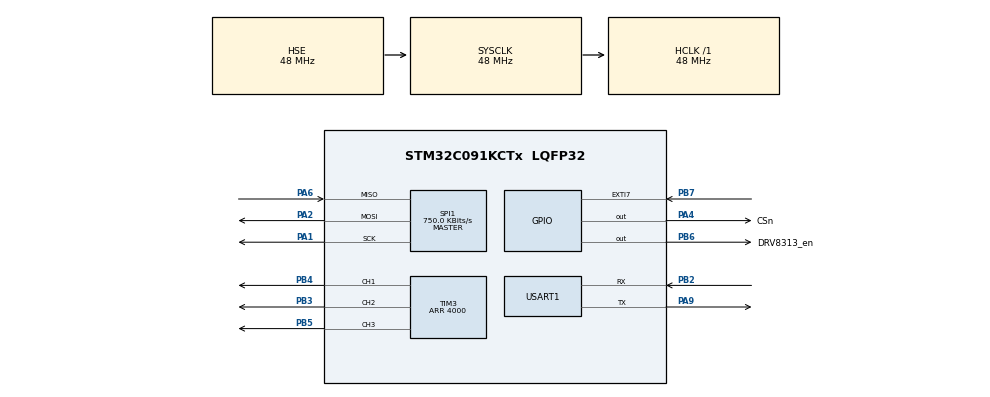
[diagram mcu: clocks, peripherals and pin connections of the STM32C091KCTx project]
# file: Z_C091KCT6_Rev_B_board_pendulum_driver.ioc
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Mcu.Family=STM32C0
Mcu.Name=STM32C091KCTx
Mcu.Package=LQFP32
NVIC.EXTI4_15_IRQn=true\:0\:0\:false\:false\:true\:true\:true\:true
PA1.Mode=Full_Duplex_Master
PA1.Signal=SPI1_SCK
PA13.Mode=Serial_Wire
PA13.Signal=DEBUG_SWDIO
PA14-BOOT0.Mode=Serial_Wire
PA14-BOOT0.Signal=DEBUG_SWCLK
PA2.Mode=Full_Duplex_Master
PA2.Signal=SPI1_MOSI
PA4.GPIO_Label=CSn
PA4.Signal=GPIO_Output
PA6.Mode=Full_Duplex_Master
PA6.Signal=SPI1_MISO
PA9.Mode=Asynchronous
PA9.Signal=USART1_TX
PB2.Mode=Asynchronous
PB2.Signal=USART1_RX
PB3.Signal=S_TIM3_CH2
PB4.Signal=S_TIM3_CH1
PB5.Signal=S_TIM3_CH3
PB6.GPIO_Label=DRV8313_en
PB6.Signal=GPIO_Output
PB7.GPIO_ModeDefaultEXTI=GPIO_MODE_IT_FALLING
PB7.Signal=GPXTI7
PC14-OSCX_IN(PC14).Mode=HSE-External-Oscillator
PC14-OSCX_IN(PC14).Signal=RCC_OSCX_IN
PC15-OSCX_OUT(PC15).Mode=HSE-External-Oscillator
PC15-OSCX_OUT(PC15).Signal=RCC_OSCX_OUT
ProjectManager.HeapSize=0x200
ProjectManager.StackSize=0x400
ProjectManager.TargetToolchain=STM32CubeIDE
RCC.ADCFreq_Value=48000000
RCC.AHBFreq_Value=48000000
RCC.CortexFreq_Value=48000000
RCC.EXTERNAL_CLOCK_VALUE=12288000
RCC.HCLKFreq_Value=48000000
RCC.HSE_VALUE=48000000
RCC.HSI_VALUE=48000000
RCC.LSE_VALUE=32768
RCC.SYSCLKFreq_VALUE=48000000
RCC.SYSCLKSource=RCC_SYSCLKSOURCE_HSE
SH.S_TIM3_CH1.0=TIM3_CH1,PWM Generation1 CH1
SH.S_TIM3_CH2.0=TIM3_CH2,PWM Generation2 CH2
SH.S_TIM3_CH3.0=TIM3_CH3,PWM Generation3 CH3
SPI1.BaudRatePrescaler=SPI_BAUDRATEPRESCALER_64
SPI1.CLKPhase=SPI_PHASE_2EDGE
SPI1.CalculateBaudRate=750.0 KBits/s
SPI1.DataSize=SPI_DATASIZE_16BIT
SPI1.Direction=SPI_DIRECTION_2LINES
SPI1.Mode=SPI_MODE_MASTER
SPI1.VirtualType=VM_MASTER
TIM3.Channel-PWM\ Generation1\ CH1=TIM_CHANNEL_1
TIM3.Channel-PWM\ Generation2\ CH2=TIM_CHANNEL_2
TIM3.Channel-PWM\ Generation3\ CH3=TIM_CHANNEL_3
TIM3.Period=4000
TIM3.Pulse-PWM\ Generation1\ CH1=123
TIM3.Pulse-PWM\ Generation2\ CH2=456
TIM3.Pulse-PWM\ Generation3\ CH3=789
USART1.VirtualMode-Asynchronous=VM_ASYNC
VP_TIM3_VS_ClockSourceINT.Mode=Internal
board=custom

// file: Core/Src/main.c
/* USER CODE BEGIN Header */
/**
 ******************************************************************************
 * @file           : main.c
 * @brief          : Main program body
 ******************************************************************************
 * @attention
 *
 * Copyright (c) 2025 STMicroelectronics.
 * All rights reserved.
 *
 * This software is licensed under terms that can be found in the LICENSE file
 * in the root directory of this software component.
 * If no LICENSE file comes with this software, it is provided AS-IS.
 *
 ******************************************************************************
 */
/* USER CODE END Header */
#include "main.h"

/* USER CODE BEGIN Includes */
#include <math.h>
#include <stdio.h>
#include <stdlib.h>
#include <stdbool.h>
#include <functions_structs.h>
/* USER CODE END Includes */

/* USER CODE BEGIN PD */
#define PENDULUM_NO               1
//#define all_tests                 false // if false, no tests occur ('production'), if true, falls into while(all_tests) loop (testing)
//#define neutral_mag               true  // if ((all_tests) && neutral_mag) then print out the reading from the MA780 magnetic sensor
//#define current_sink              false // if ((all_tests) && current_sink) then cycle through all possible current levels, including reversing the current
//#define READ_DIRECTION_REGISTER   false  // if ((all_tests) && direction_register) then read the direction register every 5 seconds (not that it is likely to change!)
//#define WRITE_DIRECTION_REGISTER  false

#if (PENDULUM_NO == 0)

#define DESIRED_PERIOD            (1960.0)
#define PERIOD_us				  (DESIRED_PERIOD * 1000)
#define DESIRED_AMPLITUDE         (1000)
#define PERIODS_BETWEEN_METAPINGS (64)
#define CTRL_PULSE_MODE           (OUTPUT)    // Board #0 produces the metapings and needs this to be OUTPUT. All other boards need INPUT
#define attach_the_interrupt      (0)         // Board #0 needs NOT to have the interrupt attached, all other boards need interrupt attached
#define OFFSET					  (0)		// 43 for #0 & #1, 15 for #2, 19 for #3
#endif

#if (PENDULUM_NO == 1)

#define DESIRED_PERIOD            (1960.0)
#define PERIOD_us				  (DESIRED_PERIOD * 1000)
#define DESIRED_AMPLITUDE         (1000)
#define PERIODS_BETWEEN_METAPINGS (65)
#define CTRL_PULSE_MODE           (INPUT)    // Board #0 produces the metapings and needs this to be OUTPUT. All other boards need INPUT
#define attach_the_interrupt      (1)         // Board #0 needs NOT to have the interrupt attached, all other boards need interrupt attached
#define OFFSET					  (43)		// 43 for #0 & #1, 15 for #2, 19 for #3
#endif

#if (PENDULUM_NO == 2)

#define PERIOD                    (940.0)
#define PERIOD_us				  (939636)
#define DESIRED_AMPLITUDE         (5000)
#define PERIODS_BETWEEN_METAPINGS (66)
#define CTRL_PULSE_MODE           (INPUT)    // Board #0 produces the metapings and needs this to be OUTPUT. All other boards need INPUT
#define attach_the_interrupt      (1)         // Board #0 needs NOT to have the interrupt attached, all other boards need interrupt attached
#define OFFSET					  (15)		// 43 for #0 & #1, 15 for #2, 19 for #3
#endif

#if (PENDULUM_NO == 3)

#define PERIOD                    (1500.0) // 926.0
#define PERIOD_us				  (1500000)
#define DESIRED_AMPLITUDE         (5000)  // 5000
#define PERIODS_BETWEEN_METAPINGS (67)    // 67
#define CTRL_PULSE_MODE           (INPUT)    // Board #0 produces the metapings and needs this to be OUTPUT. All other boards need INPUT
#define attach_the_interrupt      (1)         // Board #0 needs NOT to have the interrupt attached, all other boards need interrupt attached
#define OFFSET					  (20)		// 43 for #0 & #1, 15 for #2, 19 for #3
#endif

/* USER CODE END PD */

SPI_HandleTypeDef hspi1;

TIM_HandleTypeDef htim3;

UART_HandleTypeDef huart1;

void SystemClock_Config(void);
static void MX_GPIO_Init(void);
static void MX_SPI1_Init(void);
static void MX_TIM3_Init(void);
static void MX_USART1_UART_Init(void);
/* USER CODE BEGIN PFP */
long AS5048A_read();
void AS5048A_update_pos_array(void);

void apply_current_vector(struct pendulum_t *p_pendulum);
void apply_specified_current_vector(struct pendulum_t *p_pendulum, int a);

long measure_neutral(void);
int measure_offset(struct pendulum_t *p_pendulum);
//int measure_offset(void);
void read_sensor();

long elec_pos(long sensor_reading);

void update_max_min(struct pendulum_t *p_pendulum);

void ping_due(struct pendulum_t *p_pendulum,
		struct time_tracker_t *p_time_tracker);
void duly_ping(void);

void configure_as_controller(void);

void offset_experiment(int brian);

#//define PRINTF2UART1 int __io_putchar(int data)
#define PUTCHAR_PROTOTYPE int __io_putchar(int ch)

/* USER CODE END PFP */

/* USER CODE BEGIN 0 */
uint8_t UART1_rxBuffer[12] = { 0 };
UART_HandleTypeDef huart1;

float torqueB = 30; // 0 - 100
float torque_split = 0.5; // proportion of overall drive used to advance the phase of the pendulum
long errorB = 0;
long directnB = 0;
bool central_pos_flag = true; // measure the central position one time only at the start of the loop when flag = true
long neutral = -1; // variable to hold reading of AS5048A (use -1 as a warning that it has not been set)
bool amp_exceeds_target = false;
float X = 68, Y = 68, Z = 242; // 66 < Z < 68
long a = 39;
// long cumulative_lateness = 0;
float power = 38;
bool motor_update_flag = false;
long ping_count_current = 0; // counter to keep track of the number of metapings
long ping_count_previous = 0;	//
long ping_count = 0;

long offset_results[48];

bool if_flag = false;

struct time_tracker_t time_track;
struct pendulum_t pendulum_A;

const int A_offset = 0;
const int B_offset = 16;
const int C_offset = 32;

int currentStepA;
int currentStepB; //
int currentStepC;

int pwmSin[] = { 127, 110, 94, 78, 64, 50, 37, 26, 17, 10, 4, 1, 0, 1, 4, 10,
		17, 26, 37, 50, 64, 79, 95, 111, 128, 144, 160, 176, 191, 205, 218, 229,
		238, 245, 251, 254, 255, 254, 251, 245, 238, 229, 218, 205, 191, 176,
		160, 144 };
long count = 0;
long swing_counter = 0;
long swing_counter_ii = 0;
//int  offset = 12;

volatile bool positive = false;
volatile bool pos_going = false;
volatile bool outbound = false;
volatile uint16_t electrical_pos = 0;
volatile bool early = false; // if true, pendulum is arriving early at zero crossing
volatile bool longswing = false; // if true, pendulum is swinging too far

/* USER CODE END 0 */

int main(void) {

	/* USER CODE BEGIN 1 */

	pendulum_A.pendulum_number = PENDULUM_NO;
	pendulum_A.periods_in_meta_period = PERIODS_BETWEEN_METAPINGS;
	pendulum_A.desired_period = DESIRED_PERIOD;      //
	pendulum_A.desired_period_us = PERIOD_us;
	pendulum_A.desired_amplitude = DESIRED_AMPLITUDE;   //
	pendulum_A.pgzc_flag = true; // one of the 2 flags needs to be true otherwise no zero crossings reported
	pendulum_A.ngzc_flag = true; // probably the other flag could also be true, TLDT
	pendulum_A.period = 1234L;              // period in milliseconds
	pendulum_A.meta_period = (PERIODS_BETWEEN_METAPINGS * DESIRED_PERIOD);
	pendulum_A.time_tolerance = 20; // if +/- tolerance from desired pgzc time, treat as correct time
	pendulum_A.amplitude_tolerance = 100; // if +/- tolerance from desired amplitude, treat as correct amplitude
	pendulum_A.period_tolerance = 5;
	pendulum_A.cumulative_pgzc_error = 0;
	pendulum_A.offset = 37;

	time_track.measurement_interval = 50L; // time between position measurements
	/* USER CODE END 1 */

	/* MCU Configuration--------------------------------------------------------*/

	/* Reset of all peripherals, Initializes the Flash interface and the Systick. */
	HAL_Init();

	/* Configure the system clock */
	SystemClock_Config();

	/* Initialize all configured peripherals */
	MX_GPIO_Init();
	MX_SPI1_Init();
	MX_TIM3_Init();
	MX_USART1_UART_Init();
	/* USER CODE BEGIN 2 */
	if (PENDULUM_NO == 0) {
		configure_as_controller();
	}

	HAL_TIM_PWM_Start(&htim3, TIM_CHANNEL_1); // necessary to start the
	HAL_TIM_PWM_Start(&htim3, TIM_CHANNEL_2);
	HAL_TIM_PWM_Start(&htim3, TIM_CHANNEL_3);
	/* USER CODE END 2 */

	/* Infinite loop */
	/* USER CODE BEGIN WHILE */

	HAL_GPIO_WritePin(GPIOA, CSn_Pin, GPIO_PIN_SET); // Set CSn_Pin / PB0 high to disable SPI sensor
	HAL_GPIO_WritePin(GPIOB, DRV8313_en_Pin, GPIO_PIN_RESET); // Set En1_Pin  low to disable DRV8313

	while (1) {

		if (central_pos_flag) {
			central_pos_flag = false;
			pendulum_A.neutral_position = measure_neutral(); // execute once only to determine neutral position
			// pendulum_A.offset = measure_offset(&pendulum_A); // this function is time-consuming, use it in development but put the offset value in by hand for production
		}

		update_time(&time_track, HAL_GetTick());
		time_track.pgzc_time_last_desired = desired_pgzc(HAL_GetTick(),
				&pendulum_A, &time_track);
		ping_due(&pendulum_A, &time_track);

		if (measure_due(&time_track,
				pendulum_A.pos_array[(pendulum_A.pos_array[10][0])][1])) {
			AS5048A_update_pos_array(); // puts a new magnetic reading into position pos_array[10][0] of pos_array[][]
			motor_update_flag = true;
			if_flag = !if_flag;
		}
//
		update_max_min(&pendulum_A); // updates provisional max & min
		long dummy_2 = pgzc(&pendulum_A); // TODO can you make these functions 'void fn()' to avoid Wunused variable warning
		long dummy_3 = ngzc(&pendulum_A); // need to call both pgzc & ngzc to reset flags
		determine_late_early(&pendulum_A, &time_track);

		positive = (pendulum_A.pos_array[pendulum_A.pos_array[10][0]][0] > 0); // pendulum is in positive territory
		pos_going =
				(pendulum_A.pos_array[pendulum_A.pos_array[10][0]][0]
						- pendulum_A.pos_array[(9 + pendulum_A.pos_array[10][0])
								% 10][0] > 0); // pendulum is moving in positive direction
		outbound = ((positive && pos_going) || (!positive && !pos_going)); // pendulum is moving away from central rest position

		float multiplier = 1.8; // 2:- strongest period correction, 1:- weakest period correction
		// see extensive comment at line ~900

		if (outbound && !pendulum_A.early) { // driving outbound & late pendulum tends to make pendulum later, antagonistic to correcting a late pendulum
			multiplier = 2 - multiplier;
		}

		if (!outbound && pendulum_A.early) { // driving inbound & early pendulum tends to make pendulum earlier, antagonistic to correcting an early pendulum
			multiplier = 2 - multiplier;
		}

		if (pos_going) {
			directnB = 12;
		} else {
			directnB = 36;
		}

		if (pendulum_A.amplitude < pendulum_A.desired_amplitude) {
			torqueB = 120; // 100
		} else
			torqueB = 85;

		electrical_pos = (elec_pos(
				pendulum_A.pos_array[pendulum_A.pos_array[10][0]][0]) % 48);

		currentStepA = electrical_pos + directnB + pendulum_A.offset;
		currentStepB = currentStepA + B_offset;
		currentStepC = currentStepA + C_offset;

		currentStepA %= 48;
		currentStepB %= 48;
		currentStepC %= 48;

		if (motor_update_flag == true) {
			motor_update_flag = false;
			__HAL_TIM_SET_COMPARE(&htim3, TIM_CHANNEL_1,
					pwmSin[currentStepA] * multiplier * torqueB / 100.0);
			__HAL_TIM_SET_COMPARE(&htim3, TIM_CHANNEL_2,
					pwmSin[currentStepB] * multiplier * torqueB / 100.0);
			__HAL_TIM_SET_COMPARE(&htim3, TIM_CHANNEL_3,
					pwmSin[currentStepC] * multiplier * torqueB / 100.0);
		}

		/* USER CODE END WHILE */

		/* USER CODE BEGIN 3 */
	} // closing brace of principal while() loop
	/* USER CODE END 3 */
} // closing brace of main()

void SystemClock_Config(void) {
	RCC_OscInitTypeDef RCC_OscInitStruct = { 0 };
	RCC_ClkInitTypeDef RCC_ClkInitStruct = { 0 };

	__HAL_FLASH_SET_LATENCY(FLASH_LATENCY_1);

	/** Initializes the RCC Oscillators according to the specified parameters
	 * in the RCC_OscInitTypeDef structure.
	 */
	RCC_OscInitStruct.OscillatorType = RCC_OSCILLATORTYPE_HSE;
	RCC_OscInitStruct.HSEState = RCC_HSE_ON;
	if (HAL_RCC_OscConfig(&RCC_OscInitStruct) != HAL_OK) {
		Error_Handler();
	}

	/** Initializes the CPU, AHB and APB buses clocks
	 */
	RCC_ClkInitStruct.ClockType = RCC_CLOCKTYPE_HCLK | RCC_CLOCKTYPE_SYSCLK
			| RCC_CLOCKTYPE_PCLK1;
	RCC_ClkInitStruct.SYSCLKSource = RCC_SYSCLKSOURCE_HSE;
	RCC_ClkInitStruct.SYSCLKDivider = RCC_SYSCLK_DIV1;
	RCC_ClkInitStruct.AHBCLKDivider = RCC_HCLK_DIV1;
	RCC_ClkInitStruct.APB1CLKDivider = RCC_APB1_DIV1;

	if (HAL_RCC_ClockConfig(&RCC_ClkInitStruct, FLASH_LATENCY_1) != HAL_OK) {
		Error_Handler();
	}
}

static void MX_SPI1_Init(void) {

	/* SPI1 parameter configuration*/
	hspi1.Instance = SPI1;
	hspi1.Init.Mode = SPI_MODE_MASTER;
	hspi1.Init.Direction = SPI_DIRECTION_2LINES;
	hspi1.Init.DataSize = SPI_DATASIZE_16BIT;
	hspi1.Init.CLKPolarity = SPI_POLARITY_LOW;
	hspi1.Init.CLKPhase = SPI_PHASE_2EDGE;
	hspi1.Init.NSS = SPI_NSS_SOFT;
	hspi1.Init.BaudRatePrescaler = SPI_BAUDRATEPRESCALER_64;
	hspi1.Init.FirstBit = SPI_FIRSTBIT_MSB;
	hspi1.Init.TIMode = SPI_TIMODE_DISABLE;
	hspi1.Init.CRCCalculation = SPI_CRCCALCULATION_DISABLE;
	hspi1.Init.CRCPolynomial = 7;
	hspi1.Init.CRCLength = SPI_CRC_LENGTH_DATASIZE;
	hspi1.Init.NSSPMode = SPI_NSS_PULSE_DISABLE;
	if (HAL_SPI_Init(&hspi1) != HAL_OK) {
		Error_Handler();
	}

}

static void MX_TIM3_Init(void) {

	TIM_ClockConfigTypeDef sClockSourceConfig = { 0 };
	TIM_MasterConfigTypeDef sMasterConfig = { 0 };
	TIM_OC_InitTypeDef sConfigOC = { 0 };

	htim3.Instance = TIM3;
	htim3.Init.Prescaler = 0;
	htim3.Init.CounterMode = TIM_COUNTERMODE_UP;
	htim3.Init.Period = 4000;
	htim3.Init.ClockDivision = TIM_CLOCKDIVISION_DIV1;
	htim3.Init.AutoReloadPreload = TIM_AUTORELOAD_PRELOAD_DISABLE;
	if (HAL_TIM_Base_Init(&htim3) != HAL_OK) {
		Error_Handler();
	}
	sClockSourceConfig.ClockSource = TIM_CLOCKSOURCE_INTERNAL;
	if (HAL_TIM_ConfigClockSource(&htim3, &sClockSourceConfig) != HAL_OK) {
		Error_Handler();
	}
	if (HAL_TIM_PWM_Init(&htim3) != HAL_OK) {
		Error_Handler();
	}
	sMasterConfig.MasterOutputTrigger = TIM_TRGO_RESET;
	sMasterConfig.MasterSlaveMode = TIM_MASTERSLAVEMODE_DISABLE;
	if (HAL_TIMEx_MasterConfigSynchronization(&htim3, &sMasterConfig)
			!= HAL_OK) {
		Error_Handler();
	}
	sConfigOC.OCMode = TIM_OCMODE_PWM1;
	sConfigOC.Pulse = 123;
	sConfigOC.OCPolarity = TIM_OCPOLARITY_HIGH;
	sConfigOC.OCFastMode = TIM_OCFAST_DISABLE;
	if (HAL_TIM_PWM_ConfigChannel(&htim3, &sConfigOC, TIM_CHANNEL_1)
			!= HAL_OK) {
		Error_Handler();
	}
	sConfigOC.Pulse = 456;
	if (HAL_TIM_PWM_ConfigChannel(&htim3, &sConfigOC, TIM_CHANNEL_2)
			!= HAL_OK) {
		Error_Handler();
	}
	sConfigOC.Pulse = 789;
	if (HAL_TIM_PWM_ConfigChannel(&htim3, &sConfigOC, TIM_CHANNEL_3)
			!= HAL_OK) {
		Error_Handler();
	}
	HAL_TIM_MspPostInit(&htim3);

}

static void MX_USART1_UART_Init(void) {

	huart1.Instance = USART1;
	huart1.Init.BaudRate = 115200;
	huart1.Init.WordLength = UART_WORDLENGTH_8B;
	huart1.Init.StopBits = UART_STOPBITS_1;
	huart1.Init.Parity = UART_PARITY_NONE;
	huart1.Init.Mode = UART_MODE_TX_RX;
	huart1.Init.HwFlowCtl = UART_HWCONTROL_NONE;
	huart1.Init.OverSampling = UART_OVERSAMPLING_16;
	huart1.Init.OneBitSampling = UART_ONE_BIT_SAMPLE_DISABLE;
	huart1.Init.ClockPrescaler = UART_PRESCALER_DIV1;
	huart1.AdvancedInit.AdvFeatureInit = UART_ADVFEATURE_NO_INIT;
	if (HAL_UART_Init(&huart1) != HAL_OK) {
		Error_Handler();
	}
	if (HAL_UARTEx_SetTxFifoThreshold(&huart1, UART_TXFIFO_THRESHOLD_1_8)
			!= HAL_OK) {
		Error_Handler();
	}
	if (HAL_UARTEx_SetRxFifoThreshold(&huart1, UART_RXFIFO_THRESHOLD_1_8)
			!= HAL_OK) {
		Error_Handler();
	}
	if (HAL_UARTEx_DisableFifoMode(&huart1) != HAL_OK) {
		Error_Handler();
	}

}

static void MX_GPIO_Init(void) {
	GPIO_InitTypeDef GPIO_InitStruct = { 0 };

	/* GPIO Ports Clock Enable */
	__HAL_RCC_GPIOC_CLK_ENABLE();
	__HAL_RCC_GPIOA_CLK_ENABLE();
	__HAL_RCC_GPIOB_CLK_ENABLE();

	/*Configure GPIO pin Output Level */
	HAL_GPIO_WritePin(CSn_GPIO_Port, CSn_Pin, GPIO_PIN_RESET);

	/*Configure GPIO pin Output Level */
	HAL_GPIO_WritePin(DRV8313_en_GPIO_Port, DRV8313_en_Pin, GPIO_PIN_RESET);

	/*Configure GPIO pin : CSn_Pin */
	GPIO_InitStruct.Pin = CSn_Pin;
	GPIO_InitStruct.Mode = GPIO_MODE_OUTPUT_PP;
	GPIO_InitStruct.Pull = GPIO_NOPULL;
	GPIO_InitStruct.Speed = GPIO_SPEED_FREQ_LOW;
	HAL_GPIO_Init(CSn_GPIO_Port, &GPIO_InitStruct);

	/*Configure GPIO pin : DRV8313_en_Pin */
	GPIO_InitStruct.Pin = DRV8313_en_Pin;
	GPIO_InitStruct.Mode = GPIO_MODE_OUTPUT_PP;
	GPIO_InitStruct.Pull = GPIO_NOPULL;
	GPIO_InitStruct.Speed = GPIO_SPEED_FREQ_LOW;
	HAL_GPIO_Init(DRV8313_en_GPIO_Port, &GPIO_InitStruct);

	/*Configure GPIO pin : PB7 */
	GPIO_InitStruct.Pin = GPIO_PIN_7;
	GPIO_InitStruct.Mode = GPIO_MODE_IT_FALLING;
	GPIO_InitStruct.Pull = GPIO_NOPULL;
	HAL_GPIO_Init(GPIOB, &GPIO_InitStruct);

	/* EXTI interrupt init*/
	HAL_NVIC_SetPriority(EXTI4_15_IRQn, 0, 0);
	HAL_NVIC_EnableIRQ(EXTI4_15_IRQn);

}

/* USER CODE BEGIN 4 */

long AS5048A_read() // use this function to obtain neutral reading, do not apply neutral offset
{
	uint8_t addr[] = { 0xFF, 0xFF };
	uint8_t buff[] = { 0, 0 };
	HAL_GPIO_WritePin(GPIOA, CSn_Pin, GPIO_PIN_RESET); // pull the cs pin low to enable the chip
	HAL_SPI_Transmit(&hspi1, addr, 1, 100); // send the address from where you want to read data
	HAL_GPIO_WritePin(GPIOA, CSn_Pin, GPIO_PIN_SET);
	HAL_GPIO_WritePin(GPIOA, CSn_Pin, GPIO_PIN_RESET);
	HAL_SPI_Receive(&hspi1, buff, 1, 100);  // read 2 BYTES of data
	HAL_GPIO_WritePin(GPIOA, CSn_Pin, GPIO_PIN_SET); // pull the cs pin high to disable the chip
	long ret_val = (buff[0] | (buff[1] << 8));
	ret_val = ret_val & 0x3FFF;
	//ret_val = apply_neutral_offset(ret_val, &pendulum_A);
	return ret_val;
}

long measure_neutral(void) // remove power from motor, take magnetic readings
{
	HAL_GPIO_WritePin(GPIOB, DRV8313_en_Pin, GPIO_PIN_RESET); // Set pin  low to disable DRV8313

	HAL_Delay(4000); // allow motion to decay to zero
	long total = 0;
	for (int i = 0; i < 20; i++) {
		total += AS5048A_read();
		HAL_Delay(100);
	}
	HAL_GPIO_WritePin(GPIOB, DRV8313_en_Pin, GPIO_PIN_SET); // Set En1_Pin  high to enable DRV8313

	return (total / 20.0);
}

int measure_offset(struct pendulum_t *p_pendulum) // remove power from motor, take magnetic readings
{
	//if (PENDULUM_NO == 0){return 25;}
	//if (PENDULUM_NO == 1){return 23;}
	//if (PENDULUM_NO == 2){return 0;}
	//if (PENDULUM_NO == 3){return 3;} // check 0 number, 0 was 'made up'

	// TODO
	// 1) needs to find two local minima, expected to be 24 clicks of i apart from one another
	// 2) the correct local minimum is the one where the AS5048A reading increases with increasing i
	// eg
	// i = 11, reading = -20;
	// i = 12, reading = 2;
	// i = 13, reading = 24;
	// 3) return the correct local minimum

	HAL_GPIO_WritePin(GPIOB, DRV8313_en_Pin, GPIO_PIN_RESET); // Set pin low to disable DRV8313
	HAL_Delay(1000);
	HAL_GPIO_WritePin(GPIOB, DRV8313_en_Pin, GPIO_PIN_SET); // Set pin high to enable DRV8313

	AS5048A_update_pos_array();
	const long electrical_pos = elec_pos(
			pendulum_A.pos_array[pendulum_A.pos_array[10][0]][0]);
	//long offset_array[48];
	for (int i = 0; i < 48; i++) {

		currentStepA = electrical_pos + i; // 43 for #0 & #1, 15 for #2, 19 for #3
		currentStepB = currentStepA + B_offset;
		currentStepC = currentStepA + C_offset;

		currentStepA %= 48;
		currentStepB %= 48;
		currentStepC %= 48;
		torqueB = 500;

		__HAL_TIM_SET_COMPARE(&htim3, TIM_CHANNEL_1,
				pwmSin[currentStepA] * torqueB / 100.0);
		__HAL_TIM_SET_COMPARE(&htim3, TIM_CHANNEL_2,
				pwmSin[currentStepB] * torqueB / 100.0);
		__HAL_TIM_SET_COMPARE(&htim3, TIM_CHANNEL_3,
				pwmSin[currentStepC] * torqueB / 100.0);

		HAL_Delay(3500);
		AS5048A_update_pos_array();
		offset_results[i] =
				pendulum_A.pos_array[pendulum_A.pos_array[10][0]][0];
	}
	int j = 0;
	//int k[2];
	//long min_pos = 1000000;
	for (int i = 0; i < 48; i++) {
		if ( /* successive results are higher && cross zero */
		((offset_results[(i + 47) % 48]) < (offset_results[i]))
				&& ((offset_results[i]) < (offset_results[(i + 1) % 48]))
				&& (offset_results[(i + 47) % 48]) * (offset_results[i]) <= 0) {
			j = i;
		}
	}
	//for (int i = 0; i < 48; i++)
	//    {
	//	  if (abs(offset_results[i]) < min_pos){j = i; min_pos = abs(offset_results[i]);}
	//    }
	return j;

}

void offset_experiment(int brian) {
	AS5048A_update_pos_array();
	long electrical_pos = elec_pos(
			pendulum_A.pos_array[pendulum_A.pos_array[10][0]][0]);

	printf("electrical position %li\n\r", electrical_pos);

	currentStepA = electrical_pos + pendulum_A.offset + brian; // 43 for #0 & #1, 15 for #2, 19 for #3
	currentStepB = currentStepA + B_offset;
	currentStepC = currentStepA + C_offset;

	currentStepA %= 48;
	currentStepB %= 48;
	currentStepC %= 48;
	torqueB = 0;
	HAL_GPIO_WritePin(GPIOB, DRV8313_en_Pin, GPIO_PIN_SET); // Set pin high to enable DRV8313

	__HAL_TIM_SET_COMPARE(&htim3, TIM_CHANNEL_1,
			pwmSin[currentStepA] * torqueB / 100.0);
	__HAL_TIM_SET_COMPARE(&htim3, TIM_CHANNEL_2,
			pwmSin[currentStepB] * torqueB / 100.0);
	__HAL_TIM_SET_COMPARE(&htim3, TIM_CHANNEL_3,
			pwmSin[currentStepC] * torqueB / 100.0);
	HAL_GPIO_WritePin(GPIOB, DRV8313_en_Pin, GPIO_PIN_SET); // Set pin high to enable DRV8313

	HAL_Delay(50);

}

// use clock low, 2 edge in SPI configurations
void AS5048A_update_pos_array(void) // use this function to update the reading array, apply neutral offset
{
	uint8_t addr[] = { 0xFF, 0xFF };
	uint8_t buff[] = { 0, 0 };
	long write_location = (pendulum_A.pos_array[10][0] + 1) % 10;
	HAL_GPIO_WritePin(GPIOA, CSn_Pin, GPIO_PIN_RESET); // pull the cs pin low to enable the chip
	HAL_SPI_Transmit(&hspi1, addr, 1, 100); // send the address from where you want to read data
	HAL_GPIO_WritePin(GPIOA, CSn_Pin, GPIO_PIN_SET);
	HAL_GPIO_WritePin(GPIOA, CSn_Pin, GPIO_PIN_RESET);
	HAL_SPI_Receive(&hspi1, buff, 1, 100);  // read 2 BYTES of data
	HAL_GPIO_WritePin(GPIOA, CSn_Pin, GPIO_PIN_SET); // pull the cs pin high to disable the chip
	long ret_val = 0;
	ret_val = (buff[0] | (buff[1] << 8));
	ret_val = ret_val & 0x3FFF; // the AS5048A is 'only' 14 bit, so discard 15:14 of 15:0
	ret_val = apply_neutral_offset(ret_val, &pendulum_A);
	pendulum_A.pos_array[10][0] = write_location;
	pendulum_A.pos_array[write_location][0] = ret_val;
	pendulum_A.pos_array[write_location][1] = HAL_GetTick();
}

void update_max_min(struct pendulum_t *p_pendulum) {
	long dummy_var = apply_neutral_offset(AS5048A_read(), &pendulum_A);
	//ret_val = apply_neutral_offset(ret_val, &pendulum_A);

	p_pendulum->pos_reading_provisional_max = fmax(
			p_pendulum->pos_reading_provisional_max, dummy_var);
	p_pendulum->pos_reading_provisional_min = fmin(
			p_pendulum->pos_reading_provisional_min, dummy_var);
}

PUTCHAR_PROTOTYPE {
	HAL_UART_Transmit(&huart1, (uint8_t*) &ch, 1, 0xFFFF);
	return ch;
}

//PRINTF2UART1
//	{
//		HAL_UART_Transmit(&huart1, (uint8_t *) &data, 1, 0xFFFF);
//		return data;
//	}

void HAL_GPIO_EXTI_Falling_Callback(uint16_t GPIO_Pin) {
	/* Prevent unused argument(s) compilation warning */
	UNUSED(GPIO_Pin);
	time_track.meta_period_start_time = HAL_GetTick();
	ping_count++;
}

void ping_due(struct pendulum_t *p_pendulum,
		struct time_tracker_t *p_time_tracker) {
	if (PENDULUM_NO != 0) {
		return;
	}
	ping_count_current = (p_time_tracker->loop_time_current
			/ p_pendulum->meta_period);
	if (ping_count_current > ping_count_previous) {
		ping_count_previous = ping_count_current;
		duly_ping();
		ping_count++;
	}
}

void duly_ping(void) {
	HAL_GPIO_WritePin(GPIOB, GPIO_PIN_7, GPIO_PIN_RESET); // write this as explicit pin to avoid error when pendulum number != 0
	HAL_Delay(1);
	HAL_GPIO_WritePin(GPIOB, GPIO_PIN_7, GPIO_PIN_SET);
	time_track.meta_period_start_time = HAL_GetTick();
}

void configure_as_controller(void) {
	uint32_t *p_EXTI_FTSR1 = (uint32_t*) 0x40021804;
	uint32_t *p_EXTI_FPR1 = (uint32_t*) 0x40021810;
	uint32_t *p_EXTI_EXTICR2 = (uint32_t*) 0x40021864;
	uint32_t *p_EXTI_IMR1 = (uint32_t*) 0x40021880;

	uint32_t *p_GPIOB_MODER = (uint32_t*) 0x50000400;
	//uint32_t *p_GPIOB_IDR     = (uint32_t*) 0x50000410;
	uint32_t *p_GPIOB_ODR = (uint32_t*) 0x50000414;

	*p_EXTI_FTSR1 &= (0xFFFFFFFF - (1 << 7));
	*p_EXTI_FPR1 &= (0xFFFFFFFF - (1 << 7));
	*p_EXTI_EXTICR2 &= (0xFFFFFFFF - (1 << 28));
	*p_EXTI_IMR1 &= (0xFFFFFFFF - (1 << 7));

	*p_GPIOB_MODER |= (1 << 14);
	*p_GPIOB_ODR |= (1 << 7);

}

/* USER CODE END 4 */

void Error_Handler(void) {
	__disable_irq();
	while (1) {
	}
}

// comment from line ~292
// use multiplier to moderate the vigour with which the code 'tries' to return
// to ideal pgzc

// to modulate the period, the code determines whether the pendulum is
// 1) late or early and
// 2) inbound (moving towards the centre of the swing, also called the zero crossing point) or outbound

// the strongest correction to period is achieved as follows:
//		inbound  & early  : 	no power		-> no effect (if power were applied, it would cause the {early} pendulum to become even earlier)
//		inbound  & late   :		apply power		-> causes pendulum to be less late
//		outbound & early  : 	apply power		-> causes pendulum to be less early
//		outbound & late   :		no power		-> no effect (if power were applied, it would cause the {late} pendulum to become even later)

// however, this can be excessively effective, changing the PGZC by ~100ms or so, which is a visible misalignment

// if multiplier == 2, then all of the drive is directed towards
// changing the period to conform to ideal pgzc

// if multiplier == 1, then as much of the drive goes into conforming to pgzc as goes into making it worse
